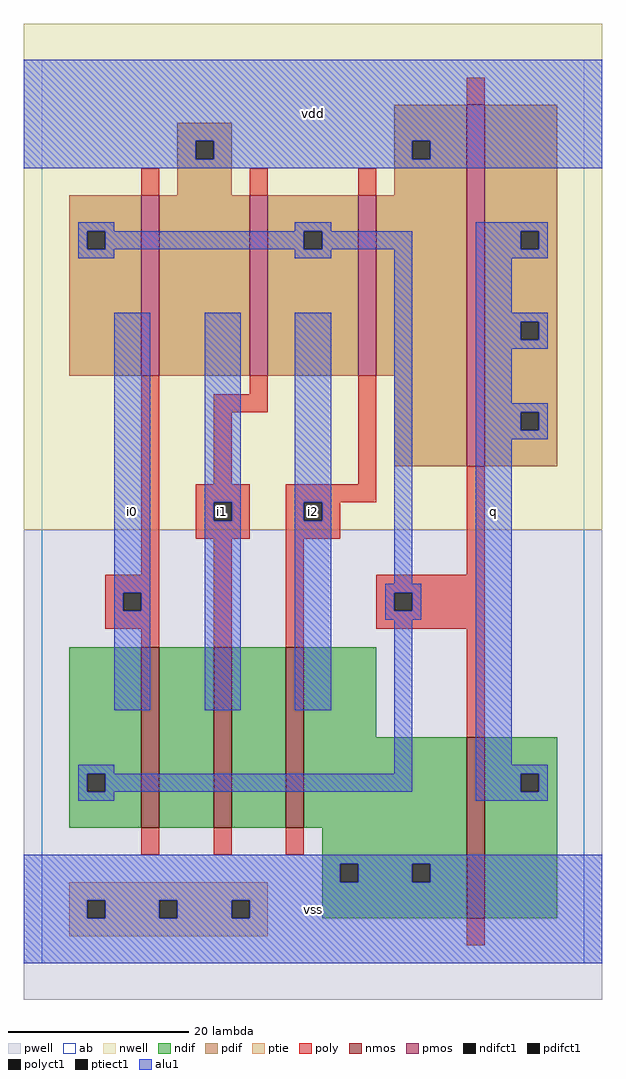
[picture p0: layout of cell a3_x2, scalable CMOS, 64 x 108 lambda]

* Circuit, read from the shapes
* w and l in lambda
.subckt a3_x2 i0 i1 i2 q vdd vss
M1 n1 i0 n2 vss nfet w=20 l=2
M2 n3 i1 n1 vss nfet w=20 l=2
M3 vss i2 n3 vss nfet w=20 l=2
M4 q n2 vss vss nfet w=20 l=2
M5 vdd i0 n2 n4 pfet w=20 l=2
M6 n2 i1 vdd n4 pfet w=20 l=2
M7 vdd i2 n2 n4 pfet w=20 l=2
M8 q n2 vdd n4 pfet w=40 l=2
.ends

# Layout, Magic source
magic
tech scmos
<< ab >>
rect 0 0 60 100
<< nwell >>
rect -2 48 62 104
<< pwell >>
rect -2 -4 62 48
<< poly >>
rect 47 95 49 98
rect 11 85 13 88
rect 23 85 25 88
rect 35 85 37 88
rect 11 43 13 65
rect 23 63 25 65
rect 19 61 25 63
rect 19 53 21 61
rect 35 53 37 65
rect 17 51 23 53
rect 17 49 19 51
rect 21 49 23 51
rect 17 47 23 49
rect 27 51 37 53
rect 27 49 29 51
rect 31 49 33 51
rect 27 47 33 49
rect 7 41 13 43
rect 7 39 9 41
rect 11 39 13 41
rect 7 37 13 39
rect 11 35 13 37
rect 19 35 21 47
rect 27 35 29 47
rect 47 43 49 55
rect 37 41 49 43
rect 37 39 39 41
rect 41 39 49 41
rect 37 37 49 39
rect 47 25 49 37
rect 11 12 13 15
rect 19 12 21 15
rect 27 12 29 15
rect 47 2 49 5
<< ndif >>
rect 3 21 11 35
rect 3 19 5 21
rect 7 19 11 21
rect 3 15 11 19
rect 13 15 19 35
rect 21 15 27 35
rect 29 25 37 35
rect 29 15 47 25
rect 31 11 47 15
rect 31 9 33 11
rect 35 9 41 11
rect 43 9 47 11
rect 31 5 47 9
rect 49 21 57 25
rect 49 19 53 21
rect 55 19 57 21
rect 49 5 57 19
<< pdif >>
rect 15 91 21 93
rect 15 89 17 91
rect 19 89 21 91
rect 15 85 21 89
rect 39 91 47 95
rect 39 89 41 91
rect 43 89 47 91
rect 39 85 47 89
rect 3 81 11 85
rect 3 79 5 81
rect 7 79 11 81
rect 3 65 11 79
rect 13 65 23 85
rect 25 81 35 85
rect 25 79 29 81
rect 31 79 35 81
rect 25 65 35 79
rect 37 65 47 85
rect 39 55 47 65
rect 49 81 57 95
rect 49 79 53 81
rect 55 79 57 81
rect 49 71 57 79
rect 49 69 53 71
rect 55 69 57 71
rect 49 61 57 69
rect 49 59 53 61
rect 55 59 57 61
rect 49 55 57 59
<< alu1 >>
rect -2 91 62 100
rect -2 89 17 91
rect 19 89 41 91
rect 43 89 62 91
rect -2 88 62 89
rect 4 81 8 82
rect 28 81 32 82
rect 48 81 56 82
rect 4 79 5 81
rect 7 79 29 81
rect 31 79 41 81
rect 4 78 8 79
rect 28 78 32 79
rect 8 41 12 72
rect 8 39 9 41
rect 11 39 12 41
rect 8 28 12 39
rect 18 51 22 72
rect 18 49 19 51
rect 21 49 22 51
rect 18 28 22 49
rect 28 51 32 72
rect 28 49 29 51
rect 31 49 32 51
rect 28 28 32 49
rect 39 42 41 79
rect 48 79 53 81
rect 55 79 56 81
rect 48 78 56 79
rect 48 72 52 78
rect 48 71 56 72
rect 48 69 53 71
rect 55 69 56 71
rect 48 68 56 69
rect 48 62 52 68
rect 48 61 56 62
rect 48 59 53 61
rect 55 59 56 61
rect 48 58 56 59
rect 38 41 42 42
rect 38 39 39 41
rect 41 39 42 41
rect 38 38 42 39
rect 4 21 8 22
rect 39 21 41 38
rect 4 19 5 21
rect 7 19 41 21
rect 48 22 52 58
rect 48 21 56 22
rect 48 19 53 21
rect 55 19 56 21
rect 4 18 8 19
rect 48 18 56 19
rect -2 11 62 12
rect -2 9 33 11
rect 35 9 41 11
rect 43 9 62 11
rect -2 7 62 9
rect -2 5 5 7
rect 7 5 13 7
rect 15 5 21 7
rect 23 5 62 7
rect -2 0 62 5
<< ptie >>
rect 3 7 25 9
rect 3 5 5 7
rect 7 5 13 7
rect 15 5 21 7
rect 23 5 25 7
rect 3 3 25 5
<< nmos >>
rect 11 15 13 35
rect 19 15 21 35
rect 27 15 29 35
rect 47 5 49 25
<< pmos >>
rect 11 65 13 85
rect 23 65 25 85
rect 35 65 37 85
rect 47 55 49 95
<< polyct1 >>
rect 19 49 21 51
rect 29 49 31 51
rect 9 39 11 41
rect 39 39 41 41
<< ndifct1 >>
rect 5 19 7 21
rect 33 9 35 11
rect 41 9 43 11
rect 53 19 55 21
<< ptiect1 >>
rect 5 5 7 7
rect 13 5 15 7
rect 21 5 23 7
<< pdifct1 >>
rect 17 89 19 91
rect 41 89 43 91
rect 5 79 7 81
rect 29 79 31 81
rect 53 79 55 81
rect 53 69 55 71
rect 53 59 55 61
<< labels >>
rlabel alu1 10 50 10 50 6 i0
rlabel polyct1 20 50 20 50 6 i1
rlabel alu1 30 6 30 6 6 vss
rlabel polyct1 30 50 30 50 6 i2
rlabel alu1 30 94 30 94 6 vdd
rlabel alu1 50 50 50 50 6 q
<< end >>
